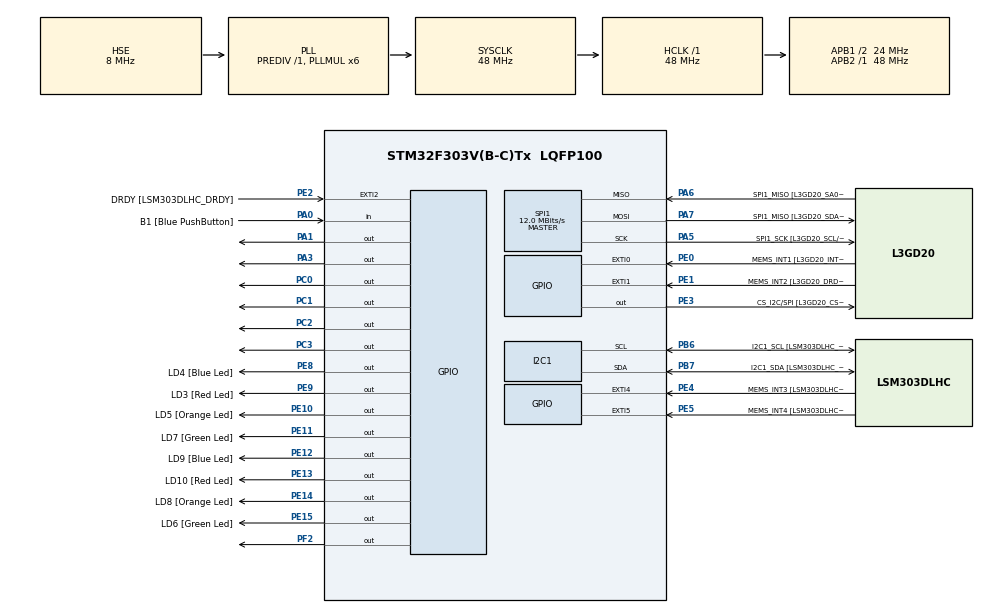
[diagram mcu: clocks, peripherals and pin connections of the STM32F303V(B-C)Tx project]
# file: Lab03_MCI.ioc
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I2C1.Timing=0x00201D2B
I2C1.Timing-I2C=0x2000090E
Mcu.Family=STM32F3
Mcu.Name=STM32F303V(B-C)Tx
Mcu.Package=LQFP100
NVIC.PriorityGroup=NVIC_PRIORITYGROUP_0
PA0.GPIO_Label=B1 [Blue PushButton]
PA0.Signal=GPIO_Input
PA1.Signal=GPIO_Output
PA11.GPIO_Label=DM
PA11.Signal=USB_DM
PA12.GPIO_Label=DP
PA12.Signal=USB_DP
PA13.GPIO_Label=SWDIO
PA13.Mode=Serial_Wire
PA13.Signal=SYS_JTMS-SWDIO
PA14.GPIO_Label=SWCLK
PA14.Mode=Serial_Wire
PA14.Signal=SYS_JTCK-SWCLK
PA3.Signal=GPIO_Output
PA5.GPIO_Label=SPI1_SCK [L3GD20_SCL/SPC]
PA5.Mode=Full_Duplex_Master
PA5.Signal=SPI1_SCK
PA6.GPIO_Label=SPI1_MISO [L3GD20_SA0/SDO]
PA6.Mode=Full_Duplex_Master
PA6.Signal=SPI1_MISO
PA7.GPIO_Label=SPI1_MISO [L3GD20_SDA/SDI/SDO]
PA7.Mode=Full_Duplex_Master
PA7.Signal=SPI1_MOSI
PB3.GPIO_Label=SWO
PB3.Signal=SYS_JTDO-TRACESWO
PB6.GPIO_Label=I2C1_SCL [LSM303DLHC_SCL]
PB6.GPIO_Pu=GPIO_PULLUP
PB6.Mode=I2C
PB6.Signal=I2C1_SCL
PB7.GPIO_Label=I2C1_SDA [LSM303DLHC_SDA]
PB7.GPIO_Pu=GPIO_PULLUP
PB7.Mode=I2C
PB7.Signal=I2C1_SDA
PC0.Signal=GPIO_Output
PC1.Signal=GPIO_Output
PC14-OSC32_IN.GPIO_Label=OSC32_IN
PC14-OSC32_IN.Signal=RCC_OSC32_IN
PC15-OSC32_OUT.GPIO_Label=OSC32_OUT
PC15-OSC32_OUT.Signal=RCC_OSC32_OUT
PC2.Signal=GPIO_Output
PC3.Signal=GPIO_Output
PE0.GPIO_Label=MEMS_INT1 [L3GD20_INT1]
PE0.GPIO_ModeDefaultEXTI=GPIO_MODE_EVT_RISING
PE0.Signal=GPXTI0
PE1.GPIO_Label=MEMS_INT2 [L3GD20_DRDY/INT2]
PE1.GPIO_ModeDefaultEXTI=GPIO_MODE_EVT_RISING
PE1.Signal=GPXTI1
PE10.GPIO_Label=LD5 [Orange Led]
PE10.Signal=GPIO_Output
PE11.GPIO_Label=LD7 [Green Led]
PE11.Signal=GPIO_Output
PE12.GPIO_Label=LD9 [Blue Led]
PE12.Signal=GPIO_Output
PE13.GPIO_Label=LD10 [Red Led]
PE13.Signal=GPIO_Output
PE14.GPIO_Label=LD8 [Orange Led]
PE14.Signal=GPIO_Output
PE15.GPIO_Label=LD6 [Green Led]
PE15.Signal=GPIO_Output
PE2.GPIO_Label=DRDY [LSM303DLHC_DRDY]
PE2.GPIO_ModeDefaultEXTI=GPIO_MODE_EVT_RISING
PE2.Signal=GPXTI2
PE3.GPIO_Label=CS_I2C/SPI [L3GD20_CS_I2C/SPI]
PE3.Signal=GPIO_Output
PE4.GPIO_Label=MEMS_INT3 [LSM303DLHC_INT1]
PE4.GPIO_ModeDefaultEXTI=GPIO_MODE_EVT_RISING
PE4.Signal=GPXTI4
PE5.GPIO_Label=MEMS_INT4 [LSM303DLHC_INT2]
PE5.GPIO_ModeDefaultEXTI=GPIO_MODE_EVT_RISING
PE5.Signal=GPXTI5
PE8.GPIO_Label=LD4 [Blue Led]
PE8.Signal=GPIO_Output
PE9.GPIO_Label=LD3 [Red Led]
PE9.Signal=GPIO_Output
PF0-OSC_IN.GPIO_Label=OSC_IN
PF0-OSC_IN.Mode=HSE-External-Clock-Source
PF0-OSC_IN.Signal=RCC_OSC_IN
PF1-OSC_OUT.GPIO_Label=OSC_OUT
PF1-OSC_OUT.Signal=RCC_OSC_OUT
PF2.Signal=GPIO_Output
ProjectManager.HeapSize=0x200
ProjectManager.StackSize=0x400
ProjectManager.TargetToolchain=CMake
RCC.AHBFreq_Value=48000000
RCC.APB1CLKDivider=RCC_HCLK_DIV2
RCC.APB1Freq_Value=24000000
RCC.APB1TimFreq_Value=48000000
RCC.APB2Freq_Value=48000000
RCC.APB2TimFreq_Value=48000000
RCC.CortexFreq_Value=48000000
RCC.HCLKFreq_Value=48000000
RCC.HSE_VALUE=8000000
RCC.HSI_VALUE=8000000
RCC.LSE_VALUE=32768
RCC.PLLMUL=RCC_PLL_MUL6
RCC.PLLSourceVirtual=RCC_PLLSOURCE_HSE
RCC.SYSCLKFreq_VALUE=48000000
RCC.SYSCLKSourceVirtual=RCC_SYSCLKSOURCE_PLLCLK
RCC.USBFreq_Value=48000000
SPI1.BaudRatePrescaler=SPI_BAUDRATEPRESCALER_4
SPI1.BaudRatePrescaler-Full_Duplex_Master=SPI_BAUDRATEPRESCALER_2
SPI1.CalculateBaudRate=12.0 MBits/s
SPI1.CalculateBaudRate-Full_Duplex_Master=24.0 MBits/s
SPI1.Direction=SPI_DIRECTION_2LINES
SPI1.Mode=SPI_MODE_MASTER
SPI1.Mode-Full_Duplex_Master=SPI_MODE_MASTER
SPI1.VirtualType=VM_MASTER
board=STM32F3DISCOVERY

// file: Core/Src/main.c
/* USER CODE BEGIN Header */
/**
  ******************************************************************************
  * @file           : main.c
  * @brief          : Main program body
  ******************************************************************************
  * @attention
  *
  * Copyright (c) 2026 STMicroelectronics.
  * All rights reserved.
  *
  * This software is licensed under terms that can be found in the LICENSE file
  * in the root directory of this software component.
  * If no LICENSE file comes with this software, it is provided AS-IS.
  *
  ******************************************************************************
  */
/* USER CODE END Header */
#include "main.h"
#include "stm32f3xx_hal.h"
#include "stm32f3xx_hal_gpio.h"

I2C_HandleTypeDef hi2c1;

SPI_HandleTypeDef hspi1;

void SystemClock_Config(void);
static void MX_GPIO_Init(void);
static void MX_I2C1_Init(void);
static void MX_SPI1_Init(void);

/* USER CODE BEGIN 0 */
int resetPIN() {
  HAL_GPIO_WritePin(GPIOC, GPIO_PIN_0, GPIO_PIN_SET);
  HAL_GPIO_WritePin(GPIOC, GPIO_PIN_1, GPIO_PIN_SET);
  HAL_GPIO_WritePin(GPIOC, GPIO_PIN_2, GPIO_PIN_SET);
  HAL_GPIO_WritePin(GPIOC, GPIO_PIN_3, GPIO_PIN_SET);
  HAL_GPIO_WritePin(GPIOA, GPIO_PIN_1, GPIO_PIN_SET);
  HAL_GPIO_WritePin(GPIOA, GPIO_PIN_3, GPIO_PIN_SET);
  HAL_GPIO_WritePin(GPIOF, GPIO_PIN_2, GPIO_PIN_SET);
  return 0;
}

void OpenLED(int i) {
    switch (i) {
          case 0:
            HAL_GPIO_WritePin(GPIOC, GPIO_PIN_0, GPIO_PIN_RESET);
            HAL_GPIO_WritePin(GPIOC, GPIO_PIN_2, GPIO_PIN_RESET);
            HAL_GPIO_WritePin(GPIOC, GPIO_PIN_3, GPIO_PIN_RESET);
            HAL_GPIO_WritePin(GPIOA, GPIO_PIN_1, GPIO_PIN_RESET);
            HAL_GPIO_WritePin(GPIOA, GPIO_PIN_3, GPIO_PIN_RESET);
            HAL_GPIO_WritePin(GPIOF, GPIO_PIN_2, GPIO_PIN_RESET);
            break;
          case 1:
            HAL_GPIO_WritePin(GPIOA, GPIO_PIN_3, GPIO_PIN_RESET);
            HAL_GPIO_WritePin(GPIOC, GPIO_PIN_2, GPIO_PIN_RESET);
            break;
          case 2:
            HAL_GPIO_WritePin(GPIOC, GPIO_PIN_0, GPIO_PIN_RESET);
            HAL_GPIO_WritePin(GPIOC, GPIO_PIN_1, GPIO_PIN_RESET);
            HAL_GPIO_WritePin(GPIOC, GPIO_PIN_2, GPIO_PIN_RESET);
            HAL_GPIO_WritePin(GPIOA, GPIO_PIN_1, GPIO_PIN_RESET);
            HAL_GPIO_WritePin(GPIOF, GPIO_PIN_2, GPIO_PIN_RESET);
            break;
          case 3:
            HAL_GPIO_WritePin(GPIOC, GPIO_PIN_0, GPIO_PIN_RESET);
            HAL_GPIO_WritePin(GPIOC, GPIO_PIN_1, GPIO_PIN_RESET);
            HAL_GPIO_WritePin(GPIOC, GPIO_PIN_2, GPIO_PIN_RESET);
            HAL_GPIO_WritePin(GPIOA, GPIO_PIN_3, GPIO_PIN_RESET);
            HAL_GPIO_WritePin(GPIOF, GPIO_PIN_2, GPIO_PIN_RESET);
            break;
          case 4:
            HAL_GPIO_WritePin(GPIOC, GPIO_PIN_2, GPIO_PIN_RESET);
            HAL_GPIO_WritePin(GPIOC, GPIO_PIN_3, GPIO_PIN_RESET);
            HAL_GPIO_WritePin(GPIOC, GPIO_PIN_1, GPIO_PIN_RESET);
            HAL_GPIO_WritePin(GPIOA, GPIO_PIN_3, GPIO_PIN_RESET);
            break;
          case 5:
            HAL_GPIO_WritePin(GPIOC, GPIO_PIN_0, GPIO_PIN_RESET);
            HAL_GPIO_WritePin(GPIOC, GPIO_PIN_1, GPIO_PIN_RESET);
            HAL_GPIO_WritePin(GPIOC, GPIO_PIN_3, GPIO_PIN_RESET);
            HAL_GPIO_WritePin(GPIOA, GPIO_PIN_3, GPIO_PIN_RESET);
            HAL_GPIO_WritePin(GPIOF, GPIO_PIN_2, GPIO_PIN_RESET);
            break;
          case 6:
            HAL_GPIO_WritePin(GPIOC, GPIO_PIN_0, GPIO_PIN_RESET);
            HAL_GPIO_WritePin(GPIOC, GPIO_PIN_1, GPIO_PIN_RESET);
            HAL_GPIO_WritePin(GPIOC, GPIO_PIN_3, GPIO_PIN_RESET);
            HAL_GPIO_WritePin(GPIOA, GPIO_PIN_1, GPIO_PIN_RESET);
            HAL_GPIO_WritePin(GPIOA, GPIO_PIN_3, GPIO_PIN_RESET);
            HAL_GPIO_WritePin(GPIOF, GPIO_PIN_2, GPIO_PIN_RESET);
            break;
          case 7:
            HAL_GPIO_WritePin(GPIOA, GPIO_PIN_3, GPIO_PIN_RESET);
            HAL_GPIO_WritePin(GPIOC, GPIO_PIN_2, GPIO_PIN_RESET);
            HAL_GPIO_WritePin(GPIOC, GPIO_PIN_0, GPIO_PIN_RESET);
            break;
          case 8:
            HAL_GPIO_WritePin(GPIOC, GPIO_PIN_0, GPIO_PIN_RESET);
            HAL_GPIO_WritePin(GPIOC, GPIO_PIN_1, GPIO_PIN_RESET);
            HAL_GPIO_WritePin(GPIOC, GPIO_PIN_2, GPIO_PIN_RESET);
            HAL_GPIO_WritePin(GPIOC, GPIO_PIN_3, GPIO_PIN_RESET);
            HAL_GPIO_WritePin(GPIOA, GPIO_PIN_1, GPIO_PIN_RESET);
            HAL_GPIO_WritePin(GPIOA, GPIO_PIN_3, GPIO_PIN_RESET);
            HAL_GPIO_WritePin(GPIOF, GPIO_PIN_2, GPIO_PIN_RESET);
            break;
          case 9:
            HAL_GPIO_WritePin(GPIOC, GPIO_PIN_0, GPIO_PIN_RESET);
            HAL_GPIO_WritePin(GPIOC, GPIO_PIN_1, GPIO_PIN_RESET);
            HAL_GPIO_WritePin(GPIOC, GPIO_PIN_2, GPIO_PIN_RESET);
            HAL_GPIO_WritePin(GPIOC, GPIO_PIN_3, GPIO_PIN_RESET);
            HAL_GPIO_WritePin(GPIOF, GPIO_PIN_2, GPIO_PIN_RESET);
            HAL_GPIO_WritePin(GPIOA, GPIO_PIN_3, GPIO_PIN_RESET);
            break;
          case 10:
            HAL_GPIO_WritePin(GPIOC, GPIO_PIN_0, GPIO_PIN_RESET);
            HAL_GPIO_WritePin(GPIOC, GPIO_PIN_1, GPIO_PIN_RESET);
            HAL_GPIO_WritePin(GPIOC, GPIO_PIN_2, GPIO_PIN_RESET);
            HAL_GPIO_WritePin(GPIOC, GPIO_PIN_3, GPIO_PIN_RESET);
            HAL_GPIO_WritePin(GPIOA, GPIO_PIN_1, GPIO_PIN_RESET);
            HAL_GPIO_WritePin(GPIOA, GPIO_PIN_3, GPIO_PIN_RESET);
            break;
          case 11:
            HAL_GPIO_WritePin(GPIOC, GPIO_PIN_1, GPIO_PIN_RESET);
            HAL_GPIO_WritePin(GPIOC, GPIO_PIN_3, GPIO_PIN_RESET);
            HAL_GPIO_WritePin(GPIOA, GPIO_PIN_1, GPIO_PIN_RESET);
            HAL_GPIO_WritePin(GPIOA, GPIO_PIN_3, GPIO_PIN_RESET);
            HAL_GPIO_WritePin(GPIOF, GPIO_PIN_2, GPIO_PIN_RESET);
            break;
          case 12:
            HAL_GPIO_WritePin(GPIOC, GPIO_PIN_0, GPIO_PIN_RESET);
            HAL_GPIO_WritePin(GPIOC, GPIO_PIN_3, GPIO_PIN_RESET);
            HAL_GPIO_WritePin(GPIOA, GPIO_PIN_1, GPIO_PIN_RESET);
            HAL_GPIO_WritePin(GPIOF, GPIO_PIN_2, GPIO_PIN_RESET);
            break;
          case 13:
            HAL_GPIO_WritePin(GPIOC, GPIO_PIN_1, GPIO_PIN_RESET);
            HAL_GPIO_WritePin(GPIOC, GPIO_PIN_2, GPIO_PIN_RESET);
            HAL_GPIO_WritePin(GPIOA, GPIO_PIN_1, GPIO_PIN_RESET);
            HAL_GPIO_WritePin(GPIOA, GPIO_PIN_3, GPIO_PIN_RESET);
            HAL_GPIO_WritePin(GPIOF, GPIO_PIN_2, GPIO_PIN_RESET);
            break;
          case 14:
            HAL_GPIO_WritePin(GPIOC, GPIO_PIN_0, GPIO_PIN_RESET);
            HAL_GPIO_WritePin(GPIOC, GPIO_PIN_1, GPIO_PIN_RESET);
            HAL_GPIO_WritePin(GPIOC, GPIO_PIN_3, GPIO_PIN_RESET);
            HAL_GPIO_WritePin(GPIOA, GPIO_PIN_1, GPIO_PIN_RESET);
            HAL_GPIO_WritePin(GPIOF, GPIO_PIN_2, GPIO_PIN_RESET);
            break;
          case 15:
            HAL_GPIO_WritePin(GPIOC, GPIO_PIN_0, GPIO_PIN_RESET);
            HAL_GPIO_WritePin(GPIOC, GPIO_PIN_1, GPIO_PIN_RESET);
            HAL_GPIO_WritePin(GPIOC, GPIO_PIN_3, GPIO_PIN_RESET);
            HAL_GPIO_WritePin(GPIOA, GPIO_PIN_1, GPIO_PIN_RESET);
            break;
          default:
            break;
        }
}

/* USER CODE END 0 */

int main(void)
{

  /* MCU Configuration--------------------------------------------------------*/

  /* Reset of all peripherals, Initializes the Flash interface and the Systick. */
  HAL_Init();

  /* Configure the system clock */
  SystemClock_Config();

  /* Initialize all configured peripherals */
  MX_GPIO_Init();
  MX_I2C1_Init();
  MX_SPI1_Init();
  /* USER CODE BEGIN 2 */

  // Reset All

  /* USER CODE END 2 */

  /* Infinite loop */
  while (1)
  {
    resetPIN();
    for(int i=10; i>=0; --i) {
        resetPIN();
        if(i==9 | i==7 | i==1 | i==0) {
        OpenLED(i);}
        HAL_Delay(1000);
    }
  }
}

void SystemClock_Config(void)
{
  RCC_OscInitTypeDef RCC_OscInitStruct = {0};
  RCC_ClkInitTypeDef RCC_ClkInitStruct = {0};
  RCC_PeriphCLKInitTypeDef PeriphClkInit = {0};

  /** Initializes the RCC Oscillators according to the specified parameters
  * in the RCC_OscInitTypeDef structure.
  */
  RCC_OscInitStruct.OscillatorType = RCC_OSCILLATORTYPE_HSI|RCC_OSCILLATORTYPE_HSE;
  RCC_OscInitStruct.HSEState = RCC_HSE_BYPASS;
  RCC_OscInitStruct.HSEPredivValue = RCC_HSE_PREDIV_DIV1;
  RCC_OscInitStruct.HSIState = RCC_HSI_ON;
  RCC_OscInitStruct.HSICalibrationValue = RCC_HSICALIBRATION_DEFAULT;
  RCC_OscInitStruct.PLL.PLLState = RCC_PLL_ON;
  RCC_OscInitStruct.PLL.PLLSource = RCC_PLLSOURCE_HSE;
  RCC_OscInitStruct.PLL.PLLMUL = RCC_PLL_MUL6;
  if (HAL_RCC_OscConfig(&RCC_OscInitStruct) != HAL_OK)
  {
    Error_Handler();
  }

  /** Initializes the CPU, AHB and APB buses clocks
  */
  RCC_ClkInitStruct.ClockType = RCC_CLOCKTYPE_HCLK|RCC_CLOCKTYPE_SYSCLK
                              |RCC_CLOCKTYPE_PCLK1|RCC_CLOCKTYPE_PCLK2;
  RCC_ClkInitStruct.SYSCLKSource = RCC_SYSCLKSOURCE_PLLCLK;
  RCC_ClkInitStruct.AHBCLKDivider = RCC_SYSCLK_DIV1;
  RCC_ClkInitStruct.APB1CLKDivider = RCC_HCLK_DIV2;
  RCC_ClkInitStruct.APB2CLKDivider = RCC_HCLK_DIV1;

  if (HAL_RCC_ClockConfig(&RCC_ClkInitStruct, FLASH_LATENCY_1) != HAL_OK)
  {
    Error_Handler();
  }
  PeriphClkInit.PeriphClockSelection = RCC_PERIPHCLK_I2C1;
  PeriphClkInit.I2c1ClockSelection = RCC_I2C1CLKSOURCE_HSI;
  if (HAL_RCCEx_PeriphCLKConfig(&PeriphClkInit) != HAL_OK)
  {
    Error_Handler();
  }
}

static void MX_I2C1_Init(void)
{

  hi2c1.Instance = I2C1;
  hi2c1.Init.Timing = 0x00201D2B;
  hi2c1.Init.OwnAddress1 = 0;
  hi2c1.Init.AddressingMode = I2C_ADDRESSINGMODE_7BIT;
  hi2c1.Init.DualAddressMode = I2C_DUALADDRESS_DISABLE;
  hi2c1.Init.OwnAddress2 = 0;
  hi2c1.Init.OwnAddress2Masks = I2C_OA2_NOMASK;
  hi2c1.Init.GeneralCallMode = I2C_GENERALCALL_DISABLE;
  hi2c1.Init.NoStretchMode = I2C_NOSTRETCH_DISABLE;
  if (HAL_I2C_Init(&hi2c1) != HAL_OK)
  {
    Error_Handler();
  }

  /** Configure Analogue filter
  */
  if (HAL_I2CEx_ConfigAnalogFilter(&hi2c1, I2C_ANALOGFILTER_ENABLE) != HAL_OK)
  {
    Error_Handler();
  }

  /** Configure Digital filter
  */
  if (HAL_I2CEx_ConfigDigitalFilter(&hi2c1, 0) != HAL_OK)
  {
    Error_Handler();
  }

}

static void MX_SPI1_Init(void)
{

  /* SPI1 parameter configuration*/
  hspi1.Instance = SPI1;
  hspi1.Init.Mode = SPI_MODE_MASTER;
  hspi1.Init.Direction = SPI_DIRECTION_2LINES;
  hspi1.Init.DataSize = SPI_DATASIZE_4BIT;
  hspi1.Init.CLKPolarity = SPI_POLARITY_LOW;
  hspi1.Init.CLKPhase = SPI_PHASE_1EDGE;
  hspi1.Init.NSS = SPI_NSS_SOFT;
  hspi1.Init.BaudRatePrescaler = SPI_BAUDRATEPRESCALER_4;
  hspi1.Init.FirstBit = SPI_FIRSTBIT_MSB;
  hspi1.Init.TIMode = SPI_TIMODE_DISABLE;
  hspi1.Init.CRCCalculation = SPI_CRCCALCULATION_DISABLE;
  hspi1.Init.CRCPolynomial = 7;
  hspi1.Init.CRCLength = SPI_CRC_LENGTH_DATASIZE;
  hspi1.Init.NSSPMode = SPI_NSS_PULSE_ENABLE;
  if (HAL_SPI_Init(&hspi1) != HAL_OK)
  {
    Error_Handler();
  }

}

static void MX_GPIO_Init(void)
{
  GPIO_InitTypeDef GPIO_InitStruct = {0};

  /* GPIO Ports Clock Enable */
  __HAL_RCC_GPIOE_CLK_ENABLE();
  __HAL_RCC_GPIOC_CLK_ENABLE();
  __HAL_RCC_GPIOF_CLK_ENABLE();
  __HAL_RCC_GPIOA_CLK_ENABLE();
  __HAL_RCC_GPIOB_CLK_ENABLE();

  /*Configure GPIO pin Output Level */
  HAL_GPIO_WritePin(GPIOE, CS_I2C_SPI_Pin|LD4_Pin|LD3_Pin|LD5_Pin
                          |LD7_Pin|LD9_Pin|LD10_Pin|LD8_Pin
                          |LD6_Pin, GPIO_PIN_RESET);

  /*Configure GPIO pin Output Level */
  HAL_GPIO_WritePin(GPIOC, GPIO_PIN_0|GPIO_PIN_1|GPIO_PIN_2|GPIO_PIN_3, GPIO_PIN_RESET);

  /*Configure GPIO pin Output Level */
  HAL_GPIO_WritePin(GPIOF, GPIO_PIN_2, GPIO_PIN_RESET);

  /*Configure GPIO pin Output Level */
  HAL_GPIO_WritePin(GPIOA, GPIO_PIN_1|GPIO_PIN_3, GPIO_PIN_RESET);

  /*Configure GPIO pins : DRDY_Pin MEMS_INT3_Pin MEMS_INT4_Pin MEMS_INT1_Pin
                           MEMS_INT2_Pin */
  GPIO_InitStruct.Pin = DRDY_Pin|MEMS_INT3_Pin|MEMS_INT4_Pin|MEMS_INT1_Pin
                          |MEMS_INT2_Pin;
  GPIO_InitStruct.Mode = GPIO_MODE_EVT_RISING;
  GPIO_InitStruct.Pull = GPIO_NOPULL;
  HAL_GPIO_Init(GPIOE, &GPIO_InitStruct);

  /*Configure GPIO pins : CS_I2C_SPI_Pin LD4_Pin LD3_Pin LD5_Pin
                           LD7_Pin LD9_Pin LD10_Pin LD8_Pin
                           LD6_Pin */
  GPIO_InitStruct.Pin = CS_I2C_SPI_Pin|LD4_Pin|LD3_Pin|LD5_Pin
                          |LD7_Pin|LD9_Pin|LD10_Pin|LD8_Pin
                          |LD6_Pin;
  GPIO_InitStruct.Mode = GPIO_MODE_OUTPUT_PP;
  GPIO_InitStruct.Pull = GPIO_NOPULL;
  GPIO_InitStruct.Speed = GPIO_SPEED_FREQ_LOW;
  HAL_GPIO_Init(GPIOE, &GPIO_InitStruct);

  /*Configure GPIO pins : PC0 PC1 PC2 PC3 */
  GPIO_InitStruct.Pin = GPIO_PIN_0|GPIO_PIN_1|GPIO_PIN_2|GPIO_PIN_3;
  GPIO_InitStruct.Mode = GPIO_MODE_OUTPUT_PP;
  GPIO_InitStruct.Pull = GPIO_NOPULL;
  GPIO_InitStruct.Speed = GPIO_SPEED_FREQ_LOW;
  HAL_GPIO_Init(GPIOC, &GPIO_InitStruct);

  /*Configure GPIO pin : PF2 */
  GPIO_InitStruct.Pin = GPIO_PIN_2;
  GPIO_InitStruct.Mode = GPIO_MODE_OUTPUT_PP;
  GPIO_InitStruct.Pull = GPIO_NOPULL;
  GPIO_InitStruct.Speed = GPIO_SPEED_FREQ_LOW;
  HAL_GPIO_Init(GPIOF, &GPIO_InitStruct);

  /*Configure GPIO pin : B1_Pin */
  GPIO_InitStruct.Pin = B1_Pin;
  GPIO_InitStruct.Mode = GPIO_MODE_INPUT;
  GPIO_InitStruct.Pull = GPIO_NOPULL;
  HAL_GPIO_Init(B1_GPIO_Port, &GPIO_InitStruct);

  /*Configure GPIO pins : PA1 PA3 */
  GPIO_InitStruct.Pin = GPIO_PIN_1|GPIO_PIN_3;
  GPIO_InitStruct.Mode = GPIO_MODE_OUTPUT_PP;
  GPIO_InitStruct.Pull = GPIO_NOPULL;
  GPIO_InitStruct.Speed = GPIO_SPEED_FREQ_LOW;
  HAL_GPIO_Init(GPIOA, &GPIO_InitStruct);

  /*Configure GPIO pins : DM_Pin DP_Pin */
  GPIO_InitStruct.Pin = DM_Pin|DP_Pin;
  GPIO_InitStruct.Mode = GPIO_MODE_AF_PP;
  GPIO_InitStruct.Pull = GPIO_NOPULL;
  GPIO_InitStruct.Speed = GPIO_SPEED_FREQ_HIGH;
  GPIO_InitStruct.Alternate = GPIO_AF14_USB;
  HAL_GPIO_Init(GPIOA, &GPIO_InitStruct);

}

void Error_Handler(void)
{
  __disable_irq();
  while (1)
  {
  }
}
